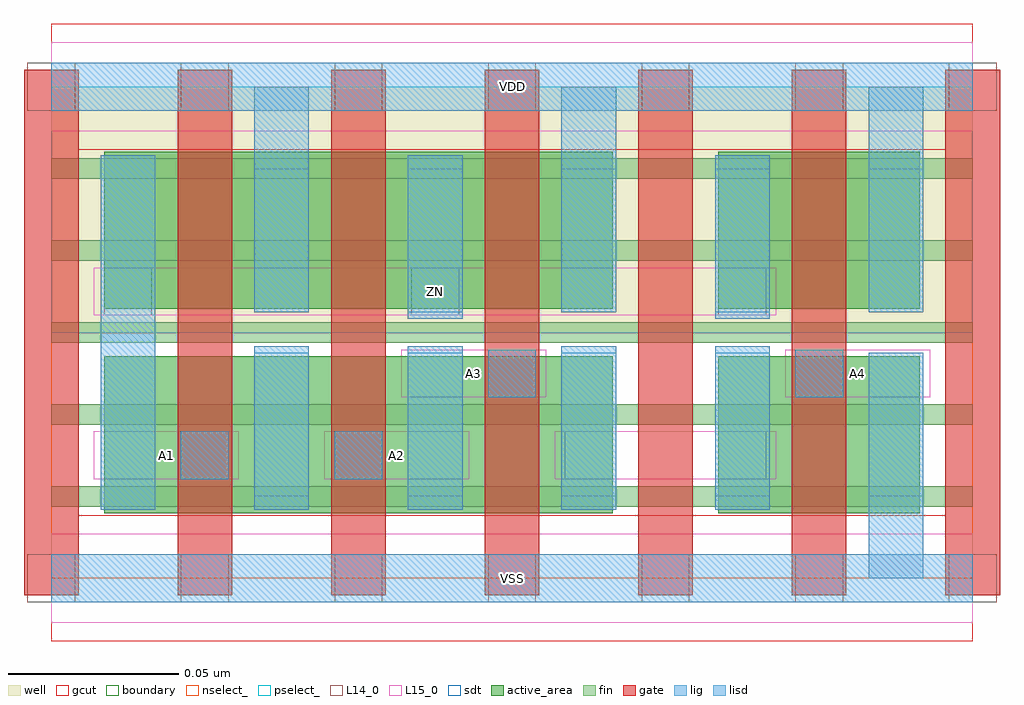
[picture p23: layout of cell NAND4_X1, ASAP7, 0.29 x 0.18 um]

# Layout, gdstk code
import gdstk
lib = gdstk.Library(unit=1e-6, precision=2.5e-10)
def R(c, l, rs):  # rectangles x0, y0, x1, y1
    for r in rs: c.add(gdstk.rectangle(r[:2], r[2:], *l))
def A(c, l, x, y, w, h, nx, ny, dx, dy):  # array of equal rectangles
    R(c, l, [(x+i*dx, y+j*dy, x+i*dx+w, y+j*dy+h) for i in range(nx) for j in range(ny)])
well = (1, 0)
fin = (2, 0)
gate = (7, 0)
gcut = (10, 0)
active_area = (11, 0)
nselect_ = (12, 0)
pselect_ = (13, 0)
L14_0 = (14, 0)
L15_0 = (15, 0)
lig = (16, 0)
lisd = (17, 0)
sdt = (88, 0)
boundary = (100, 0)

nand4_x1 = lib.new_cell('NAND4_X1')
R(nand4_x1, well, [(0,0.072,0.27,0.144)])
A(nand4_x1, fin, 0, 0.021, 0.27, 0.006, 1, 5, 0, 0.024)
A(nand4_x1, gate, -0.008, -0.005, 0.016, 0.154, 7, 1, 0.045, 0)
R(nand4_x1, gcut, [(0,-0.0185,0.27,0.0185), (-0.008,-0.005,0.008,0.149), (0.262,-0.005,0.278,0.149), (0,0.1255,0.27,0.1625)])
A(nand4_x1, active_area, 0.0155, 0.019, 0.059, 0.046, 3, 2, 0.045, 0.06)
R(nand4_x1, active_area, [(0.1955,0.019,0.2545,0.065), (0.1955,0.079,0.2545,0.125)])
R(nand4_x1, nselect_, [(0,0,0.27,0.072)])
R(nand4_x1, pselect_, [(0,0.072,0.27,0.144)])
A(nand4_x1, L14_0, -0.007, -0.007, 0.014, 0.014, 7, 2, 0.045, 0.144)
A(nand4_x1, L14_0, 0.0155, 0.077, 0.014, 0.014, 3, 1, 0.09, 0)
R(nand4_x1, L14_0, [(0.038,0.029,0.052,0.043), (0.083,0.029,0.097,0.043), (0.1505,0.029,0.1645,0.043), (0.1955,0.029,0.2095,0.043), (0.128,0.053,0.142,0.067), (0.218,0.053,0.232,0.067)])
R(nand4_x1, L15_0, [(0,-0.013,0.27,0.013), (0.0125,0.029,0.055,0.043), (0.08,0.029,0.1225,0.043), (0.1475,0.029,0.2125,0.043), (0.1025,0.053,0.145,0.067), (0.215,0.053,0.2575,0.067), (0.0125,0.077,0.2125,0.091), (0,0.131,0.27,0.157)])
R(nand4_x1, lig, [(0,-0.007,0.27,0.007), (0.038,0.029,0.052,0.043), (0.083,0.029,0.097,0.043), (0.128,0.053,0.142,0.067), (0.218,0.053,0.232,0.067), (0,0.137,0.27,0.151)])
A(nand4_x1, lisd, 0.1045, 0.02, 0.016, 0.048, 3, 1, 0.045, 0)
A(nand4_x1, lisd, 0.0595, 0.078, 0.016, 0.066, 3, 1, 0.09, 0)
R(nand4_x1, lisd, [(0.2395,0,0.2555,0.066), (0.0145,0.02,0.0305,0.124), (0.0595,0.02,0.0755,0.068), (0.0595,0.02,0.0755,0.068), (0.1045,0.02,0.1205,0.068), (0.1045,0.076,0.1205,0.124), (0.1045,0.076,0.1205,0.124), (0.1945,0.076,0.2105,0.124), (0.0595,0.078,0.0755,0.144)])
A(nand4_x1, sdt, 0.1045, 0.024, 0.016, 0.042, 4, 2, 0.045, 0.054)
R(nand4_x1, sdt, [(0.0145,0.02,0.0305,0.124), (0.0595,0.024,0.0755,0.066), (0.0595,0.024,0.0755,0.066), (0.1045,0.024,0.1205,0.066), (0.0595,0.078,0.0755,0.12), (0.0595,0.078,0.0755,0.12), (0.1045,0.078,0.1205,0.12)])
R(nand4_x1, boundary, [(0,0,0.27,0.144)])
nand4_x1.add(gdstk.Label('VDD', (0.135,0.144), layer=1, texttype=251))
nand4_x1.add(gdstk.Label('VSS', (0.135,0), layer=3, texttype=251))
nand4_x1.add(gdstk.Label('A1', (0.0338,0.036), layer=15, texttype=251))
nand4_x1.add(gdstk.Label('A2', (0.1013,0.036), layer=15, texttype=251))
nand4_x1.add(gdstk.Label('A3', (0.1237,0.06), layer=15, texttype=251))
nand4_x1.add(gdstk.Label('ZN', (0.1125,0.084), layer=15, texttype=251))
nand4_x1.add(gdstk.Label('A4', (0.2363,0.06), layer=15, texttype=251))
nand4_x1.add(gdstk.Label('VSS', (0.135,0), layer=15, texttype=251))
nand4_x1.add(gdstk.Label('VDD', (0.135,0.144), layer=15, texttype=251))

lib.write_gds('NAND4_X1.gds')
